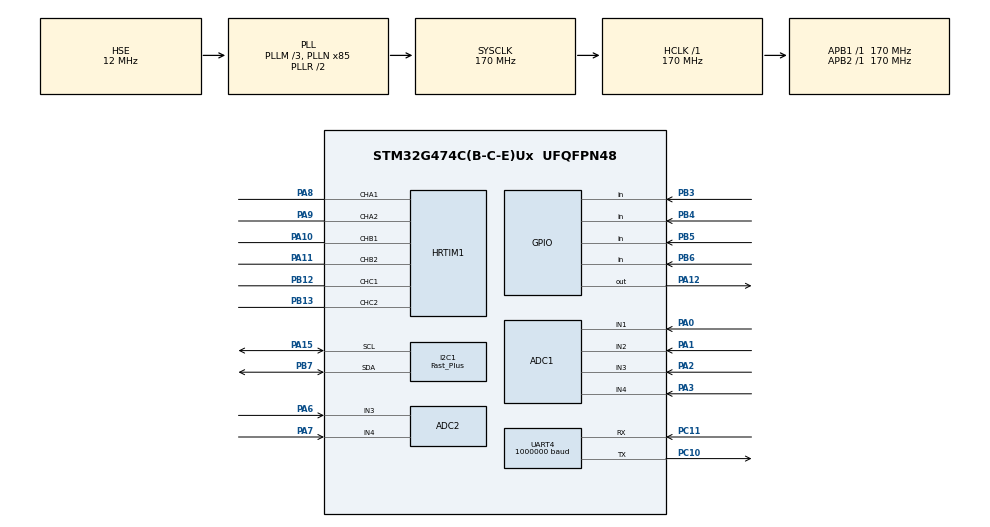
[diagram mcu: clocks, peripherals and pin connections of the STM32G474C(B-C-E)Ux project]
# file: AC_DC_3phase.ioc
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ADC1.Channel-0\#ChannelRegularConversion=ADC_CHANNEL_1
ADC1.Channel-1\#ChannelRegularConversion=ADC_CHANNEL_2
ADC1.Channel-2\#ChannelRegularConversion=ADC_CHANNEL_3
ADC1.Channel-3\#ChannelRegularConversion=ADC_CHANNEL_4
ADC1.ContinuousConvMode=ENABLE
ADC1.DMAContinuousRequests=ENABLE
ADC1.NbrOfConversion=4
ADC1.NbrOfConversionFlag=1
ADC1.OffsetNumber-0\#ChannelRegularConversion=ADC_OFFSET_NONE
ADC1.OffsetNumber-1\#ChannelRegularConversion=ADC_OFFSET_NONE
ADC1.OffsetNumber-2\#ChannelRegularConversion=ADC_OFFSET_NONE
ADC1.OffsetNumber-3\#ChannelRegularConversion=ADC_OFFSET_NONE
ADC1.OversamplingMode=ENABLE
ADC1.Rank-0\#ChannelRegularConversion=1
ADC1.Rank-1\#ChannelRegularConversion=2
ADC1.Rank-2\#ChannelRegularConversion=3
ADC1.Rank-3\#ChannelRegularConversion=4
ADC1.Ratio=ADC_OVERSAMPLING_RATIO_16
ADC1.SamplingTime-0\#ChannelRegularConversion=ADC_SAMPLETIME_24CYCLES_5
ADC1.SamplingTime-1\#ChannelRegularConversion=ADC_SAMPLETIME_24CYCLES_5
ADC1.SamplingTime-2\#ChannelRegularConversion=ADC_SAMPLETIME_24CYCLES_5
ADC1.SamplingTime-3\#ChannelRegularConversion=ADC_SAMPLETIME_24CYCLES_5
ADC1.master=1
ADC2.Channel-0\#ChannelRegularConversion=ADC_CHANNEL_3
ADC2.Channel-1\#ChannelRegularConversion=ADC_CHANNEL_4
ADC2.ContinuousConvMode=ENABLE
ADC2.DMAContinuousRequests=ENABLE
ADC2.NbrOfConversion=2
ADC2.NbrOfConversionFlag=1
ADC2.OffsetNumber-0\#ChannelRegularConversion=ADC_OFFSET_NONE
ADC2.OffsetNumber-1\#ChannelRegularConversion=ADC_OFFSET_NONE
ADC2.OversamplingMode=ENABLE
ADC2.Rank-0\#ChannelRegularConversion=1
ADC2.Rank-1\#ChannelRegularConversion=2
ADC2.Ratio=ADC_OVERSAMPLING_RATIO_16
ADC2.SamplingTime-0\#ChannelRegularConversion=ADC_SAMPLETIME_24CYCLES_5
ADC2.SamplingTime-1\#ChannelRegularConversion=ADC_SAMPLETIME_24CYCLES_5
Dma.ADC1.0.Direction=DMA_PERIPH_TO_MEMORY
Dma.ADC1.0.EventEnable=DISABLE
Dma.ADC1.0.Instance=DMA1_Channel1
Dma.ADC1.0.MemDataAlignment=DMA_MDATAALIGN_HALFWORD
Dma.ADC1.0.MemInc=DMA_MINC_ENABLE
Dma.ADC1.0.Mode=DMA_CIRCULAR
Dma.ADC1.0.PeriphDataAlignment=DMA_PDATAALIGN_HALFWORD
Dma.ADC1.0.PeriphInc=DMA_PINC_DISABLE
Dma.ADC1.0.Polarity=HAL_DMAMUX_REQ_GEN_RISING
Dma.ADC1.0.Priority=DMA_PRIORITY_HIGH
Dma.ADC1.0.RequestNumber=1
Dma.ADC1.0.SignalID=NONE
Dma.ADC1.0.SyncEnable=DISABLE
Dma.ADC1.0.SyncPolarity=HAL_DMAMUX_SYNC_NO_EVENT
Dma.ADC1.0.SyncRequestNumber=1
Dma.ADC1.0.SyncSignalID=NONE
Dma.ADC2.1.Direction=DMA_PERIPH_TO_MEMORY
Dma.ADC2.1.EventEnable=DISABLE
Dma.ADC2.1.Instance=DMA1_Channel2
Dma.ADC2.1.MemDataAlignment=DMA_MDATAALIGN_HALFWORD
Dma.ADC2.1.MemInc=DMA_MINC_ENABLE
Dma.ADC2.1.Mode=DMA_CIRCULAR
Dma.ADC2.1.PeriphDataAlignment=DMA_PDATAALIGN_HALFWORD
Dma.ADC2.1.PeriphInc=DMA_PINC_DISABLE
Dma.ADC2.1.Polarity=HAL_DMAMUX_REQ_GEN_RISING
Dma.ADC2.1.Priority=DMA_PRIORITY_HIGH
Dma.ADC2.1.RequestNumber=1
Dma.ADC2.1.SignalID=NONE
Dma.ADC2.1.SyncEnable=DISABLE
Dma.ADC2.1.SyncPolarity=HAL_DMAMUX_SYNC_NO_EVENT
Dma.ADC2.1.SyncRequestNumber=1
Dma.ADC2.1.SyncSignalID=NONE
Dma.I2C1_RX.3.Direction=DMA_PERIPH_TO_MEMORY
Dma.I2C1_RX.3.EventEnable=DISABLE
Dma.I2C1_RX.3.Instance=DMA1_Channel4
Dma.I2C1_RX.3.MemDataAlignment=DMA_MDATAALIGN_BYTE
Dma.I2C1_RX.3.MemInc=DMA_MINC_ENABLE
Dma.I2C1_RX.3.Mode=DMA_NORMAL
Dma.I2C1_RX.3.PeriphDataAlignment=DMA_PDATAALIGN_BYTE
Dma.I2C1_RX.3.PeriphInc=DMA_PINC_DISABLE
Dma.I2C1_RX.3.Polarity=HAL_DMAMUX_REQ_GEN_RISING
Dma.I2C1_RX.3.Priority=DMA_PRIORITY_LOW
Dma.I2C1_RX.3.RequestNumber=1
Dma.I2C1_RX.3.SignalID=NONE
Dma.I2C1_RX.3.SyncEnable=DISABLE
Dma.I2C1_RX.3.SyncPolarity=HAL_DMAMUX_SYNC_NO_EVENT
Dma.I2C1_RX.3.SyncRequestNumber=1
Dma.I2C1_RX.3.SyncSignalID=NONE
Dma.I2C1_TX.4.Direction=DMA_MEMORY_TO_PERIPH
Dma.I2C1_TX.4.EventEnable=DISABLE
Dma.I2C1_TX.4.Instance=DMA1_Channel5
Dma.I2C1_TX.4.MemDataAlignment=DMA_MDATAALIGN_BYTE
Dma.I2C1_TX.4.MemInc=DMA_MINC_ENABLE
Dma.I2C1_TX.4.Mode=DMA_NORMAL
Dma.I2C1_TX.4.PeriphDataAlignment=DMA_PDATAALIGN_BYTE
Dma.I2C1_TX.4.PeriphInc=DMA_PINC_DISABLE
Dma.I2C1_TX.4.Polarity=HAL_DMAMUX_REQ_GEN_RISING
Dma.I2C1_TX.4.Priority=DMA_PRIORITY_LOW
Dma.I2C1_TX.4.RequestNumber=1
Dma.I2C1_TX.4.SignalID=NONE
Dma.I2C1_TX.4.SyncEnable=DISABLE
Dma.I2C1_TX.4.SyncPolarity=HAL_DMAMUX_SYNC_NO_EVENT
Dma.I2C1_TX.4.SyncRequestNumber=1
Dma.I2C1_TX.4.SyncSignalID=NONE
Dma.Request0=ADC1
Dma.Request1=ADC2
Dma.Request2=UART4_TX
Dma.Request3=I2C1_RX
Dma.Request4=I2C1_TX
Dma.UART4_TX.2.Direction=DMA_MEMORY_TO_PERIPH
Dma.UART4_TX.2.EventEnable=DISABLE
Dma.UART4_TX.2.Instance=DMA1_Channel3
Dma.UART4_TX.2.MemDataAlignment=DMA_MDATAALIGN_BYTE
Dma.UART4_TX.2.MemInc=DMA_MINC_ENABLE
Dma.UART4_TX.2.Mode=DMA_NORMAL
Dma.UART4_TX.2.PeriphDataAlignment=DMA_PDATAALIGN_BYTE
Dma.UART4_TX.2.PeriphInc=DMA_PINC_DISABLE
Dma.UART4_TX.2.Polarity=HAL_DMAMUX_REQ_GEN_RISING
Dma.UART4_TX.2.Priority=DMA_PRIORITY_LOW
Dma.UART4_TX.2.RequestNumber=1
Dma.UART4_TX.2.SignalID=NONE
Dma.UART4_TX.2.SyncEnable=DISABLE
Dma.UART4_TX.2.SyncPolarity=HAL_DMAMUX_SYNC_NO_EVENT
Dma.UART4_TX.2.SyncRequestNumber=1
Dma.UART4_TX.2.SyncSignalID=NONE
HRTIM1.Adrom_TA=HRTIM_TIM_ADROM_CREST
HRTIM1.CompareUnit1-Output_TA1TA2=HRTIM_COMPAREUNIT_1
HRTIM1.CompareUnit1-Output_TB1TB2=HRTIM_COMPAREUNIT_1
HRTIM1.CompareUnit1-Output_TC1TC2=HRTIM_COMPAREUNIT_1
HRTIM1.CompareValue1-Output_TA1TA2=8500
HRTIM1.CompareValue1-Output_TB1TB2=8500
HRTIM1.CompareValue1-Output_TC1TC2=8500
HRTIM1.DeadTimeInsertion-Output_TA1TA2=HRTIM_TIMDEADTIMEINSERTION_ENABLED
HRTIM1.DeadTimeInsertion-Output_TB1TB2=HRTIM_TIMDEADTIMEINSERTION_ENABLED
HRTIM1.DeadTimeInsertion-Output_TC1TC2=HRTIM_TIMDEADTIMEINSERTION_ENABLED
HRTIM1.FallingValue-Output_TA1TA2=280
HRTIM1.FallingValue-Output_TB1TB2=280
HRTIM1.FallingValue-Output_TC1TC2=280
HRTIM1.NumberResetSource1-Output_TA1TA2=1
HRTIM1.NumberResetSource1-Output_TB1TB2=1
HRTIM1.NumberResetSource1-Output_TC1TC2=1
HRTIM1.NumberResetTrigger-Output_TA1TA2=1
HRTIM1.NumberResetTrigger-Output_TB1TB2=1
HRTIM1.NumberResetTrigger-Output_TC1TC2=1
HRTIM1.NumberSetSource1-Output_TA1TA2=1
HRTIM1.NumberSetSource1-Output_TB1TB2=1
HRTIM1.NumberSetSource1-Output_TC1TC2=1
HRTIM1.Periode_MASTER=17000
HRTIM1.Periode_TA=17000
HRTIM1.Periode_TB=17000
HRTIM1.Periode_TC=17000
HRTIM1.PreloadEnable-MasterTimer=HRTIM_PRELOAD_ENABLED
HRTIM1.PreloadEnable-Output_TA1TA2=HRTIM_PRELOAD_ENABLED
HRTIM1.PreloadEnable-Output_TB1TB2=HRTIM_PRELOAD_ENABLED
HRTIM1.PreloadEnable-Output_TC1TC2=HRTIM_PRELOAD_ENABLED
HRTIM1.PrescalerDead-Output_TA1TA2=HRTIM_TIMDEADTIME_PRESCALERRATIO_DIV8
HRTIM1.PrescalerDead-Output_TB1TB2=HRTIM_TIMDEADTIME_PRESCALERRATIO_DIV8
HRTIM1.PrescalerDead-Output_TC1TC2=HRTIM_TIMDEADTIME_PRESCALERRATIO_DIV8
HRTIM1.PrescalerRatio_MASTER=HRTIM_PRESCALERRATIO_MUL4
HRTIM1.PrescalerRatio_TA=HRTIM_PRESCALERRATIO_MUL4
HRTIM1.PrescalerRatio_TB=HRTIM_PRESCALERRATIO_MUL4
HRTIM1.PrescalerRatio_TC=HRTIM_PRESCALERRATIO_MUL4
HRTIM1.RepetitionUpdate-MasterTimer=HRTIM_UPDATEONREPETITION_ENABLED
HRTIM1.RepetitionUpdate-Output_TA1TA2=HRTIM_UPDATEONREPETITION_ENABLED
HRTIM1.RepetitionUpdate-Output_TB1TB2=HRTIM_UPDATEONREPETITION_ENABLED
HRTIM1.RepetitionUpdate-Output_TC1TC2=HRTIM_UPDATEONREPETITION_ENABLED
HRTIM1.ResetOutput1_Source1-Output_TA1TA2=HRTIM_OUTPUTRESET_TIMCMP1
HRTIM1.ResetOutput1_Source1-Output_TB1TB2=HRTIM_OUTPUTRESET_TIMCMP1
HRTIM1.ResetOutput1_Source1-Output_TC1TC2=HRTIM_OUTPUTRESET_TIMCMP1
HRTIM1.ResetTrigger1-Output_TA1TA2=HRTIM_TIMRESETTRIGGER_MASTER_PER
HRTIM1.ResetTrigger1-Output_TB1TB2=HRTIM_TIMRESETTRIGGER_MASTER_PER
HRTIM1.ResetTrigger1-Output_TC1TC2=HRTIM_TIMRESETTRIGGER_MASTER_PER
HRTIM1.ResetUpdate-Output_TA1TA2=HRTIM_TIMUPDATEONRESET_ENABLED
HRTIM1.ResetUpdate-Output_TB1TB2=HRTIM_TIMUPDATEONRESET_ENABLED
HRTIM1.ResetUpdate-Output_TC1TC2=HRTIM_TIMUPDATEONRESET_ENABLED
HRTIM1.RisingValue-Output_TA1TA2=280
HRTIM1.RisingValue-Output_TB1TB2=280
HRTIM1.RisingValue-Output_TC1TC2=280
HRTIM1.SetOutput1_Source1-Output_TA1TA2=HRTIM_OUTPUTSET_TIMPER
HRTIM1.SetOutput1_Source1-Output_TB1TB2=HRTIM_OUTPUTSET_TIMPER
HRTIM1.SetOutput1_Source1-Output_TC1TC2=HRTIM_OUTPUTSET_TIMPER
HRTIM1.UpDownMode-Output_TA1TA2=HRTIM_TIMERUPDOWNMODE_UPDOWN
HRTIM1.UpDownMode-Output_TB1TB2=HRTIM_TIMERUPDOWNMODE_UPDOWN
HRTIM1.UpDownMode-Output_TC1TC2=HRTIM_TIMERUPDOWNMODE_UPDOWN
I2C1.I2C_Speed_Mode=I2C_Fast_Plus
I2C1.Timing=0x4052060F
Mcu.Family=STM32G4
Mcu.Name=STM32G474C(B-C-E)Ux
Mcu.Package=UFQFPN48
NVIC.DMA1_Channel1_IRQn=true\:0\:0\:false\:false\:true\:false\:true\:true
NVIC.DMA1_Channel2_IRQn=true\:0\:0\:false\:false\:true\:false\:true\:true
NVIC.DMA1_Channel3_IRQn=true\:1\:0\:true\:false\:true\:false\:true\:true
NVIC.DMA1_Channel4_IRQn=true\:1\:0\:true\:false\:true\:false\:true\:true
NVIC.DMA1_Channel5_IRQn=true\:1\:0\:true\:false\:true\:false\:true\:true
NVIC.I2C1_ER_IRQn=true\:1\:0\:true\:false\:true\:true\:true\:true
NVIC.I2C1_EV_IRQn=true\:1\:0\:true\:false\:true\:true\:true\:true
NVIC.PriorityGroup=NVIC_PRIORITYGROUP_4
NVIC.TIM6_DAC_IRQn=true\:0\:0\:false\:false\:true\:true\:true\:true
NVIC.UART4_IRQn=true\:1\:0\:true\:false\:true\:false\:true\:true
PA0.Mode=IN1-Single-Ended
PA0.Signal=ADC1_IN1
PA1.Mode=IN2-Single-Ended
PA1.Signal=ADC1_IN2
PA10.Mode=Output_TB1TB2
PA10.Signal=HRTIM1_CHB1
PA11.Mode=Output_TB1TB2
PA11.Signal=HRTIM1_CHB2
PA12.Signal=GPIO_Output
PA13.Mode=Serial_Wire
PA13.Signal=SYS_JTMS-SWDIO
PA14.Mode=Serial_Wire
PA14.Signal=SYS_JTCK-SWCLK
PA15.Mode=I2C
PA15.Signal=I2C1_SCL
PA2.Mode=IN3-Single-Ended
PA2.Signal=ADC1_IN3
PA3.Mode=IN4-Single-Ended
PA3.Signal=ADC1_IN4
PA6.Mode=IN3-Single-Ended
PA6.Signal=ADC2_IN3
PA7.Mode=IN4-Single-Ended
PA7.Signal=ADC2_IN4
PA8.Mode=Output_TA1TA2
PA8.Signal=HRTIM1_CHA1
PA9.Mode=Output_TA1TA2
PA9.Signal=HRTIM1_CHA2
PB12.Mode=Output_TC1TC2
PB12.Signal=HRTIM1_CHC1
PB13.Mode=Output_TC1TC2
PB13.Signal=HRTIM1_CHC2
PB3.GPIO_PuPd=GPIO_PULLUP
PB3.Signal=GPIO_Input
PB4.GPIO_PuPd=GPIO_PULLUP
PB4.Signal=GPIO_Input
PB5.GPIO_PuPd=GPIO_PULLUP
PB5.Signal=GPIO_Input
PB6.GPIO_PuPd=GPIO_PULLUP
PB6.Signal=GPIO_Input
PB7.Mode=I2C
PB7.Signal=I2C1_SDA
PC10.Mode=Asynchronous
PC10.Signal=UART4_TX
PC11.Mode=Asynchronous
PC11.Signal=UART4_RX
PC14-OSC32_IN.Mode=LSE-External-Oscillator
PC14-OSC32_IN.Signal=RCC_OSC32_IN
PC15-OSC32_OUT.Mode=LSE-External-Oscillator
PC15-OSC32_OUT.Signal=RCC_OSC32_OUT
PF0-OSC_IN.Mode=HSE-External-Oscillator
PF0-OSC_IN.Signal=RCC_OSC_IN
PF1-OSC_OUT.Mode=HSE-External-Oscillator
PF1-OSC_OUT.Signal=RCC_OSC_OUT
ProjectManager.HeapSize=0x200
ProjectManager.StackSize=0x400
ProjectManager.TargetToolchain=MDK-ARM V5.32
RCC.ADC12Freq_Value=170000000
RCC.ADC345Freq_Value=170000000
RCC.AHBFreq_Value=170000000
RCC.APB1Freq_Value=170000000
RCC.APB1TimFreq_Value=170000000
RCC.APB2Freq_Value=170000000
RCC.APB2TimFreq_Value=170000000
RCC.CortexFreq_Value=170000000
RCC.EXTERNAL_CLOCK_VALUE=12288000
RCC.HCLKFreq_Value=170000000
RCC.HSE_VALUE=12000000
RCC.HSI48_VALUE=48000000
RCC.HSI_VALUE=16000000
RCC.PLLM=RCC_PLLM_DIV3
RCC.PLLN=85
RCC.PLLSourceVirtual=RCC_PLLSOURCE_HSE
RCC.SYSCLKFreq_VALUE=170000000
RCC.SYSCLKSource=RCC_SYSCLKSOURCE_PLLCLK
RCC.USBFreq_Value=170000000
RCC.VCOOutputFreq_Value=340000000
STMicroelectronics.X-CUBE-ALGOBUILD.1.5.0.LibraryCcDSPOoLibraryJjDSPOoLibrary=true
TIM6.AutoReloadPreload=TIM_AUTORELOAD_PRELOAD_ENABLE
TIM6.PeriodNoDither=100-1
TIM6.Prescaler=170-1
UART4.BaudRate=1000000
VP_HRTIM1_VS_hrtimMasterTimerNoOutput.Mode=MasterTimer
VP_STMicroelectronics.X-CUBE-ALGOBUILD_VS_DSPOoLibraryJjLibrary_1.5.0_1.5.0.Mode=DSPOoLibraryJjLibrary
VP_SYS_VS_DBSignals.Mode=DisableDeadBatterySignals
VP_TIM6_VS_ClockSourceINT.Mode=Enable_Timer
board=custom

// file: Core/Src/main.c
/* USER CODE BEGIN Header */
/**
  ******************************************************************************
  * @file           : main.c
  * @brief          : Main program body
  ******************************************************************************
  * @attention
  *
  * Copyright (c) 2026 STMicroelectronics.
  * All rights reserved.
  *
  * This software is licensed under terms that can be found in the LICENSE file
  * in the root directory of this software component.
  * If no LICENSE file comes with this software, it is provided AS-IS.
  *
  ******************************************************************************
  */
/* USER CODE END Header */
#include "main.h"
#include "adc.h"
#include "dma.h"
#include "hrtim.h"
#include "i2c.h"
#include "tim.h"
#include "usart.h"
#include "gpio.h"

/* USER CODE BEGIN Includes */
#include "inital.h"
#include "suanfa.h"
#include "key.h"
#include "OLED.h"
#include "oledui.h"
#include "arm_math.h"
#include "stdio.h"
#include <stdarg.h>
#define DMA_TX_BUFFER_SIZE 128
/* USER CODE END Includes */

/* USER CODE BEGIN PTD */
/** ===========================================================================================================================
 * @brief usart的dma发送函数
 * @note 类似printf
 */
static char dma_tx_buffer[DMA_TX_BUFFER_SIZE];

/**
 * @brief  无阻塞 DMA 格式化打印函数
 * @param  huart: 串口句柄 (比如 &huart4)
 * @param  fmt: 格式化字符串
 */
void printf_DMA(const char *fmt, ...)
{
    // 1. 【生死防线】检查 DMA 是否正在忙着搬运上一次的数据？
    // 如果在忙，直接丢弃本次打印！这能保证 CPU 绝对不会被卡住，也不会发乱码。
    if (huart4.gState != HAL_UART_STATE_READY)
    {
        return;
    }

    // 2. 将传入的参数格式化为字符串，存入缓冲区
    va_list args;
    va_start(args, fmt);
    int len = vsnprintf(dma_tx_buffer, DMA_TX_BUFFER_SIZE, fmt, args);
    va_end(args);

    // 3. 启动 DMA 后台发送
    if (len > 0)
    {
        HAL_UART_Transmit_DMA(&huart4, (uint8_t *)dma_tx_buffer, len);
    }
}
/* USER CODE END PTD */

/* USER CODE BEGIN PD */
uint16_t ADC1_Value[4]={0};//原始数据
uint16_t ADC2_Value[2]={0};//原始数据
/* USER CODE END PD */

void SystemClock_Config(void);

int main(void)
{

  /* MCU Configuration--------------------------------------------------------*/

  /* Reset of all peripherals, Initializes the Flash interface and the Systick. */
  HAL_Init();

  /* Configure the system clock */
  SystemClock_Config();

  /* Initialize all configured peripherals */
  MX_GPIO_Init();
  MX_DMA_Init();
  MX_ADC1_Init();
  MX_ADC2_Init();
  MX_UART4_Init();
  MX_HRTIM1_Init();
  MX_TIM6_Init();
  MX_I2C1_Init();
  /* USER CODE BEGIN 2 */
	OLEDUI_Init();

	Clark_Init(&clark1); //克拉克变换结构体初始化（电压正负序分离）
	Clark_Init(&clark2); //克拉克变换结构体初始化（电流正负序分离）
	Clark_Init(&clark3); //反克拉克变换结构体初始化
	my_svpwm_Init(&SVPWM);//SVPWM参数结构体初始化

	HAL_ADCEx_Calibration_Start(&hadc1,ADC_SINGLE_ENDED);//ADC校准
	HAL_ADCEx_Calibration_Start(&hadc2,ADC_SINGLE_ENDED);//ADC校准
	HAL_ADC_Start_DMA(&hadc1, (uint32_t *)&ADC1_Value, 4);//开启转换
	HAL_ADC_Start_DMA(&hadc2, (uint32_t *)&ADC2_Value, 2);//开启转换

//		HAL_TIM_Base_Start_IT(&htim6);    //开启定时中断

//	HAL_HRTIM_WaveformCounterStart(&hhrtim1,HRTIM_TIMERID_MASTER);//开启通道输出
//	HAL_HRTIM_WaveformCounterStart(&hhrtim1,HRTIM_TIMERID_TIMER_A);
//	HAL_HRTIM_WaveformOutputStart(&hhrtim1,HRTIM_OUTPUT_TA1|HRTIM_OUTPUT_TA2);
//	HAL_HRTIM_SimplePWMStart(&hhrtim1,HRTIM_TIMERINDEX_TIMER_A,HRTIM_OUTPUT_TA1|HRTIM_OUTPUT_TA2);

//	HAL_HRTIM_WaveformCounterStart(&hhrtim1,HRTIM_TIMERID_TIMER_B);
//	HAL_HRTIM_WaveformOutputStart(&hhrtim1,HRTIM_OUTPUT_TB1|HRTIM_OUTPUT_TB2);
//	HAL_HRTIM_SimplePWMStart(&hhrtim1,HRTIM_TIMERINDEX_TIMER_B,HRTIM_OUTPUT_TB1|HRTIM_OUTPUT_TB2);
//
//	HAL_HRTIM_WaveformCounterStart(&hhrtim1,HRTIM_TIMERID_TIMER_C);
//	HAL_HRTIM_WaveformOutputStart(&hhrtim1,HRTIM_OUTPUT_TC1|HRTIM_OUTPUT_TC2);
//	HAL_HRTIM_SimplePWMStart(&hhrtim1,HRTIM_TIMERINDEX_TIMER_C,HRTIM_OUTPUT_TC1|HRTIM_OUTPUT_TC2);

  /* USER CODE END 2 */

  /* Infinite loop */
  /* USER CODE BEGIN WHILE */
  while (1)
  {
		OLEDUI_Key_Handle();
    OLED_Update();
    OLEDUI_Refresh();

    /* USER CODE END WHILE */

  }
}

void SystemClock_Config(void)
{
  RCC_OscInitTypeDef RCC_OscInitStruct = {0};
  RCC_ClkInitTypeDef RCC_ClkInitStruct = {0};

  /** Configure the main internal regulator output voltage
  */
  HAL_PWREx_ControlVoltageScaling(PWR_REGULATOR_VOLTAGE_SCALE1_BOOST);

  /** Initializes the RCC Oscillators according to the specified parameters
  * in the RCC_OscInitTypeDef structure.
  */
  RCC_OscInitStruct.OscillatorType = RCC_OSCILLATORTYPE_HSE;
  RCC_OscInitStruct.HSEState = RCC_HSE_ON;
  RCC_OscInitStruct.PLL.PLLState = RCC_PLL_ON;
  RCC_OscInitStruct.PLL.PLLSource = RCC_PLLSOURCE_HSE;
  RCC_OscInitStruct.PLL.PLLM = RCC_PLLM_DIV3;
  RCC_OscInitStruct.PLL.PLLN = 85;
  RCC_OscInitStruct.PLL.PLLP = RCC_PLLP_DIV2;
  RCC_OscInitStruct.PLL.PLLQ = RCC_PLLQ_DIV2;
  RCC_OscInitStruct.PLL.PLLR = RCC_PLLR_DIV2;
  if (HAL_RCC_OscConfig(&RCC_OscInitStruct) != HAL_OK)
  {
    Error_Handler();
  }

  /** Initializes the CPU, AHB and APB buses clocks
  */
  RCC_ClkInitStruct.ClockType = RCC_CLOCKTYPE_HCLK|RCC_CLOCKTYPE_SYSCLK
                              |RCC_CLOCKTYPE_PCLK1|RCC_CLOCKTYPE_PCLK2;
  RCC_ClkInitStruct.SYSCLKSource = RCC_SYSCLKSOURCE_PLLCLK;
  RCC_ClkInitStruct.AHBCLKDivider = RCC_SYSCLK_DIV1;
  RCC_ClkInitStruct.APB1CLKDivider = RCC_HCLK_DIV1;
  RCC_ClkInitStruct.APB2CLKDivider = RCC_HCLK_DIV1;

  if (HAL_RCC_ClockConfig(&RCC_ClkInitStruct, FLASH_LATENCY_4) != HAL_OK)
  {
    Error_Handler();
  }
}

void Error_Handler(void)
{
  __disable_irq();
  while (1)
  {
  }
}
